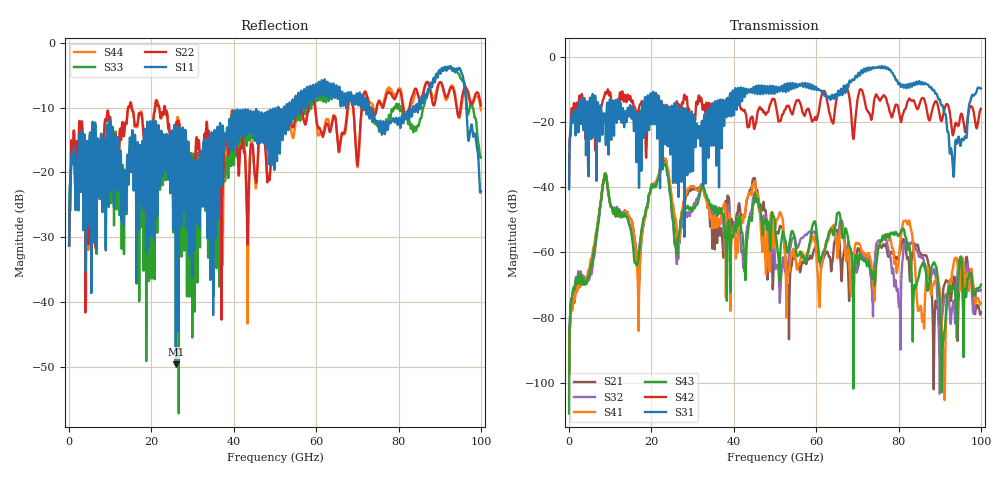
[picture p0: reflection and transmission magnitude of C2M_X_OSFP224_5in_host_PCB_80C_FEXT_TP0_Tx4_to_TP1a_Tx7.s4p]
# GHz S RI R 45
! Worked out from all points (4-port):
!   4000 points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, 25 MHz to 100 GHz, reference 45 ohm
!   strongest paths, dB at 25 MHz, 25.02 GHz, 50.02 GHz, 75.03 GHz, 100 GHz:
!     S31: -40.6, -15.9, -9.8, -3.4, -9.8
!     S42: -39.3, -21.6, -13.7, -12.5, -15.9
!     S43: -109.4, -48.2, -52.2, -59.3, -69.9
!     S41: -102.0, -44.1, -52.6, -58.9, -75.5
!     S32: -98.3, -49.3, -62.9, -56.5, -71.5
!     S21: -105.1, -45.1, -54.7, -57.8, -78.4
!   lowest |S11| = -49.6 dB at 25.93 GHz (marker M1), VSWR 1.01, Z = 44.8 - j0.185 ohm
!   |S11| at or under -10 dB: start of sweep to 50.79 GHz; 73.33 GHz to 83.5 GHz (10.16 GHz wide, 13 % of centre); 96.47 GHz to end of sweep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
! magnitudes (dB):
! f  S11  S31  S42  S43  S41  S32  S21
! 25 MHz  -31.2  -40.6  -39.3  -109.4  -102.0  -98.3  -105.1
! 8.725 GHz  -17.1  -17.8  -11.2  -36.0  -35.9  -36.1  -36.0
! 16.77 GHz  -16.0  -18.3  -16.8  -63.0  -72.9  -60.4  -67.2
! 23.07 GHz  -14.1  -14.8  -15.4  -32.7  -31.1  -32.9  -31.3
! 25.93 GHz  -49.6  -38.7  -15.3  -58.1  -50.2  -58.7  -52.2
! 93.17 GHz  -4.3  -33.6  -24.1  -71.2  -65.1  -76.1  -69.6
! 100 GHz  -22.9  -9.8  -15.9  -69.9  -75.5  -71.5  -78.4
